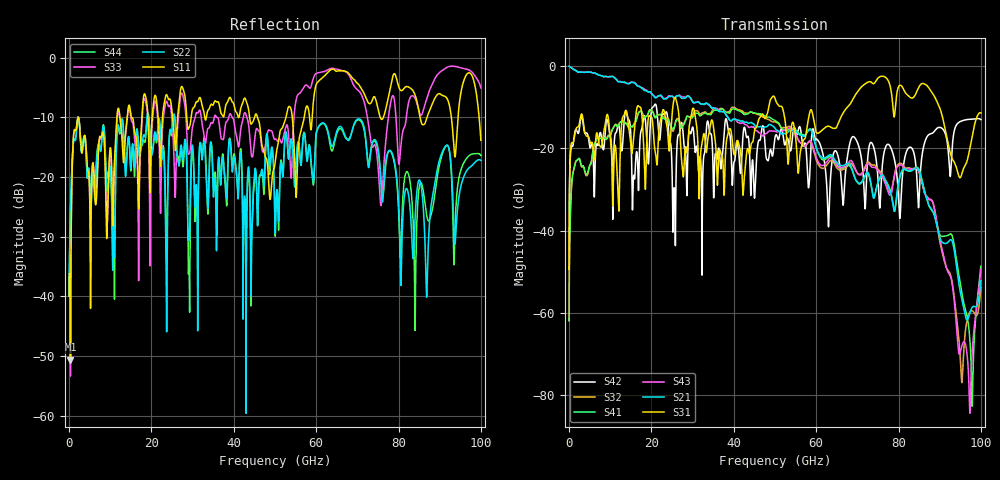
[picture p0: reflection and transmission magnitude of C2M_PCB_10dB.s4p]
! Info: Touchstone file created by Circ.  Input file=Intel_C2M_200G_0p5in_202204012_staggered.circ
# Hz S RI R 50
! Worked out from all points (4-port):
!   10000 points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, 10 MHz to 100 GHz, reference 50 ohm
!   strongest paths, dB at 10 MHz, 25.01 GHz, 50.01 GHz, 75.01 GHz, 100 GHz:
!     S31: -49.4, -11.8, -7.9, -3.0, -11.5
!     S21: -0.1, -7.4, -15.2, -28.3, -52.2
!     S43: -0.1, -7.4, -15.9, -25.5, -49.4
!     S41: -61.9, -15.1, -13.3, -28.4, -48.7
!     S32: -61.9, -15.6, -13.6, -25.1, -53.9
!     S42: -49.4, -25.6, -17.4, -27.4, -13.0
!   lowest |S11| = -50.7 dB at 340 MHz (marker M1), VSWR 1.01, Z = 49.7 - j0.0575 ohm
!   |S11| at or under -10 dB: start of sweep to 11.61 GHz; 45.73 GHz to 52.67 GHz (6.945 GHz wide, 14.1 % of centre); 54.2 GHz to 57.1 GHz (2.9 GHz wide, 5.21 % of centre) (the widest 3 of 17)
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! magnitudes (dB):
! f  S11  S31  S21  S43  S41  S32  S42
! 10 MHz  -40.0  -49.4  -0.1  -0.1  -61.9  -61.9  -49.4
! 340 MHz  -50.7  -21.0  -0.3  -0.3  -35.2  -35.2  -21.2
! 2.09 GHz  -10.3  -14.9  -1.5  -1.5  -22.8  -22.8  -16.3
! 39.96 GHz  -7.7  -21.1  -12.9  -13.0  -10.5  -10.1  -23.7
! 84.59 GHz  -7.7  -5.9  -24.8  -25.1  -24.7  -25.1  -29.8
! 97.26 GHz  -2.6  -20.4  -60.2  -83.1  -65.7  -59.9  -13.0
! 100 GHz  -13.9  -11.5  -52.2  -49.4  -48.7  -53.9  -13.0
